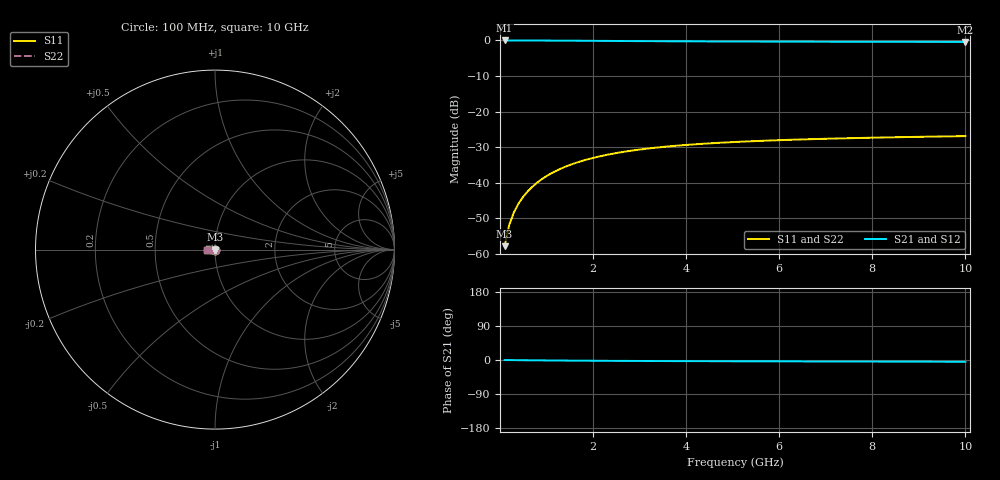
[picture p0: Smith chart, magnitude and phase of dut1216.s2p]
! Touchstone file exported from HFSS 2024.1.0
!  File:  C:/UserFiles/LocalFiles/RDL_TSV_Batchsim/temp_TSV1_1216_1780249102.aedt
!  Generated:  01:44:04 AM Jun  1, 2026
!  Design:  TSV1
!  Project:  temp_TSV1_1216_1780249102
!  Setup:  Setup1
!  Solution:  Sweep
! Variables:
!  dtsv = 11.85um
!  hbump = 3um
!  htsv = 72.05um
!  lrdl = 252.1521522um
!  p = 40
!  p1 = 52.75um
!  t = 500um
!  trdl = 3um
!  wrdl = 24.89489489um
# GHz S MA R 50.000000
! Terminal data exported
! Port[1] = TSV22_T1
! Port[2] = TSV22_T2
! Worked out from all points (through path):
!   100 points, 100 MHz to 10 GHz, reference 50 ohm
!   highest |S21| = 0.00 dB at 100 MHz (marker M1); lowest = -0.4 dB at 10 GHz (marker M2)
!   lowest |S11| = -57.8 dB at 100 MHz (marker M3), VSWR 1.00, Z = 50 - j0.128 ohm
!   |S11| at or under -10 dB: start of sweep to end of sweep
!   |S22| runs from -57.8 to -26.9 dB; largest |S21 - S12| = 7.2e-15
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0.1  0.001282 -87.5  0.9999 -0.1  0.9999 -0.1  0.001282 -87.5
! Gamma 0 0 0 0
! Port Impedance 50 0 50 0
0.2  0.00256 -91.4  0.9997 -0.2  0.9997 -0.2  0.00256 -91.4
0.3  0.003836 -93.8  0.9995 -0.4  0.9995 -0.4  0.003836 -93.8
0.4  0.005106 -96.0  0.9992 -0.5  0.9992 -0.5  0.005106 -96.0
0.5  0.006367 -98.0  0.9988 -0.6  0.9988 -0.6  0.006367 -98.0
0.6  0.007612 -99.9  0.9984 -0.7  0.9984 -0.7  0.007612 -99.9
0.7  0.00884 -101.9  0.9979 -0.8  0.9979 -0.8  0.00884 -101.9
0.8  0.01005 -103.7  0.9973 -0.9  0.9973 -0.9  0.01005 -103.7
0.9  0.01123 -105.5  0.9967 -1.0  0.9967 -1.0  0.01123 -105.5
1.1  0.01352 -109.1  0.9953 -1.2  0.9953 -1.2  0.01352 -109.1
1.4  0.01673 -114.1  0.9929 -1.5  0.9929 -1.5  0.01673 -114.1
1.6  0.01871 -117.3  0.9912 -1.7  0.9912 -1.7  0.01871 -117.3
1.8  0.02057 -120.3  0.9894 -1.9  0.9894 -1.9  0.02057 -120.3
2.1  0.02312 -124.6  0.9867 -2.1  0.9867 -2.1  0.02312 -124.6
2.5  0.02611 -129.8  0.9831 -2.3  0.9831 -2.3  0.02611 -129.8
2.9  0.02866 -134.5  0.9797 -2.5  0.9797 -2.5  0.02866 -134.5
3.4  0.03135 -139.8  0.9759 -2.7  0.9759 -2.7  0.03135 -139.8
4.2  0.03471 -147.1  0.9707 -3.0  0.9707 -3.0  0.03471 -147.1
5.1  0.03752 -153.8  0.966 -3.3  0.966 -3.3  0.03752 -153.8
6.7  0.04097 -163.4  0.9602 -3.8  0.9602 -3.8  0.04097 -163.4
8.4  0.04345 -171.5  0.9561 -4.3  0.9561 -4.3  0.04345 -171.5
10  0.04521 -177.8  0.9535 -4.7  0.9535 -4.7  0.04521 -177.8
